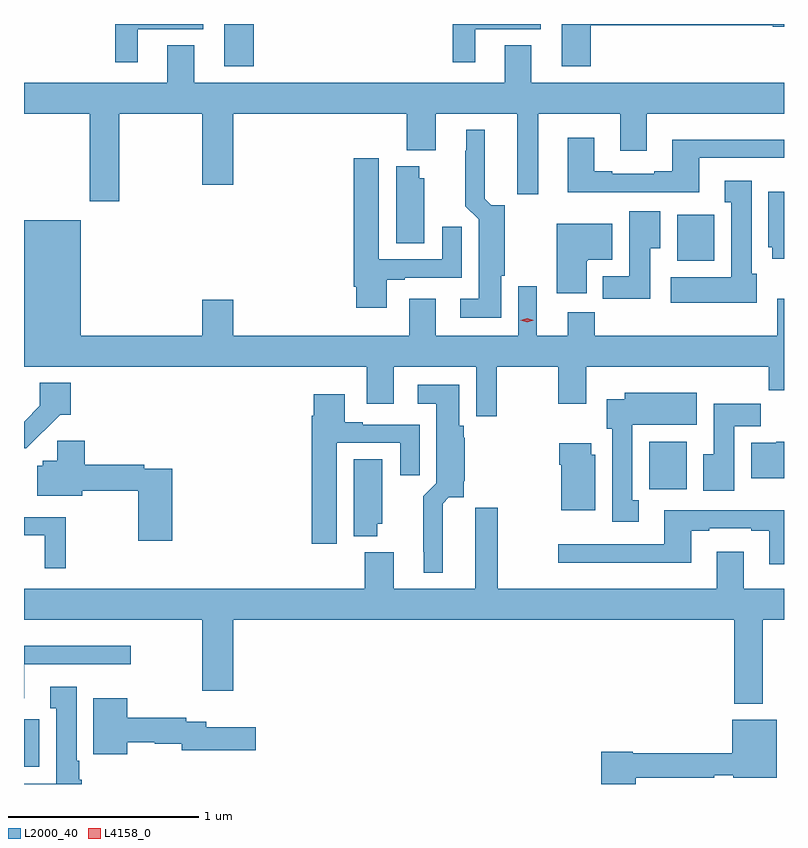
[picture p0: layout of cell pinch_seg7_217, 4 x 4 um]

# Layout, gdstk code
import gdstk
lib = gdstk.Library(unit=1e-6, precision=1e-09)
def R(c, l, rs):  # rectangles x0, y0, x1, y1
    for r in rs: c.add(gdstk.rectangle(r[:2], r[2:], *l))
def P(c, l, *ps):  # polygons
    for p in ps: c.add(gdstk.Polygon(p, *l))
L2000_40 = (2000, 40)
L4158_0 = (4158, 0)

pinch_seg7_217 = lib.new_cell('pinch_seg7_217')
R(pinch_seg7_217, L2000_40, [(751.482,1003.838,751.563,1004.089), (754.773,1005.3,754.969,1005.55), (754.919,1006.502,755.116,1006.744), (752.537,1007.525,752.69,1007.748)])
P(pinch_seg7_217, L2000_40, [(754.466,1007.742),(755.424,1007.742),(755.424,1007.734),(755.482,1007.734),(755.482,1007.748),(754.313,1007.748),(754.313,1007.525),(754.466,1007.525)],
  [(753.856,1007.721),(754.201,1007.721),(754.201,1007.748),(753.739,1007.748),(753.739,1007.547),(753.856,1007.547)],
  [(752.08,1007.721),(752.425,1007.721),(752.425,1007.748),(751.963,1007.748),(751.963,1007.547),(752.08,1007.547)],
  [(751.983,1007.276),(752.42,1007.276),(752.42,1006.902),(752.584,1006.902),(752.584,1007.276),(753.497,1007.276),(753.497,1007.084),(753.649,1007.084),(753.649,1007.276),(754.079,1007.276),(754.079,1006.851),(754.189,1006.851),(754.189,1007.276),(754.619,1007.276),(754.619,1007.082),(754.759,1007.082),(754.759,1007.276),(755.482,1007.276),(755.482,1007.44),(754.153,1007.44),(754.153,1007.635),(754.013,1007.635),(754.013,1007.44),(752.377,1007.44),(752.377,1007.635),(752.237,1007.635),(752.237,1007.44),(751.482,1007.44),(751.482,1007.276),(751.828,1007.276),(751.828,1006.815),(751.983,1006.815)],
  [(753.994,1006.422),(754.012,1006.422),(754.012,1006.794),(753.94,1006.794),(753.907,1006.828),(753.907,1007.191),(753.809,1007.191),(753.809,1007.081),(753.805,1007.081),(753.805,1006.79),(753.875,1006.72),(753.875,1006.303),(753.777,1006.303),(753.777,1006.202),(753.994,1006.202)],
  [(754.571,1006.863),(755.035,1006.863),(755.035,1007.043),(755.482,1007.043),(755.482,1007.14),(754.895,1007.14),(754.895,1006.972),(754.799,1006.972),(754.799,1006.959),(754.579,1006.959),(754.579,1006.972),(754.483,1006.972),(754.483,1007.149),(754.343,1007.149),(754.343,1006.862),(754.571,1006.862)],
  [(753.391,1006.401),(753.487,1006.401),(753.487,1006.413),(753.787,1006.413),(753.787,1006.681),(753.683,1006.681),(753.683,1006.509),(753.349,1006.509),(753.349,1007.041),(753.218,1007.041),(753.218,1006.366),(753.23,1006.366),(753.23,1006.254),(753.391,1006.254)],
  [(753.589,1006.935),(753.562,1006.935),(753.562,1006.999),(753.44,1006.999),(753.44,1006.594),(753.589,1006.594)],
  [(755.338,1006.434),(755.311,1006.434),(755.311,1006.924),(755.171,1006.924),(755.171,1006.811),(755.204,1006.811),(755.204,1006.414),(754.887,1006.414),(754.887,1006.28),(755.338,1006.28)],
  [(755.482,1006.864),(755.399,1006.864),(755.399,1006.572),(755.42,1006.572),(755.42,1006.512),(755.482,1006.512)],
  [(754.777,1006.568),(754.831,1006.568),(754.831,1006.762),(754.667,1006.762),(754.667,1006.42),(754.529,1006.42),(754.529,1006.302),(754.777,1006.302)],
  [(753.97,1005.944),(754.294,1005.944),(754.294,1005.75),(754.441,1005.75),(754.441,1005.944),(755.401,1005.944),(755.401,1005.82),(755.482,1005.82),(755.482,1006.303),(755.447,1006.303),(755.447,1006.108),(754.487,1006.108),(754.487,1006.232),(754.343,1006.232),(754.343,1006.108),(754.18,1006.108),(754.18,1006.369),(754.083,1006.369),(754.083,1006.108),(753.649,1006.108),(753.649,1006.303),(753.509,1006.303),(753.509,1006.108),(752.584,1006.108),(752.584,1006.297),(752.42,1006.297),(752.42,1006.108),(751.78,1006.108),(751.78,1006.714),(751.482,1006.714),(751.482,1005.944),(753.287,1005.944),(753.287,1005.75),(753.427,1005.75),(753.427,1005.944),(753.861,1005.944),(753.861,1005.684),(753.97,1005.684)],
  [(754.444,1006.502),(754.45,1006.502),(754.45,1006.508),(754.579,1006.508),(754.579,1006.696),(754.286,1006.696),(754.286,1006.332),(754.444,1006.332)],
  [(751.673,1005.692),(751.727,1005.692),(751.727,1005.859),(751.566,1005.859),(751.566,1005.738),(751.482,1005.654),(751.482,1005.515),(751.495,1005.515)],
  [(753.685,1005.224),(753.717,1005.257),(753.797,1005.257),(753.797,1005.338),(753.803,1005.344),(753.803,1005.57),(753.797,1005.57),(753.797,1005.633),(753.772,1005.633),(753.772,1005.85),(753.555,1005.85),(753.555,1005.749),(753.653,1005.749),(753.653,1005.332),(753.583,1005.262),(753.583,1004.971),(753.587,1004.971),(753.587,1004.861),(753.685,1004.861)],
  [(754.717,1005.241),(754.684,1005.241),(754.684,1005.638),(755.023,1005.638),(755.023,1005.808),(754.643,1005.808),(754.643,1005.772),(754.55,1005.772),(754.55,1005.618),(754.577,1005.618),(754.577,1005.129),(754.717,1005.129)],
  [(753.127,1005.543),(753.461,1005.543),(753.461,1005.372),(753.565,1005.372),(753.565,1005.639),(753.265,1005.639),(753.265,1005.652),(753.169,1005.652),(753.169,1005.799),(753.008,1005.799),(753.008,1005.686),(752.996,1005.686),(752.996,1005.012),(753.127,1005.012)],
  [(755.221,1005.632),(755.36,1005.632),(755.36,1005.75),(755.111,1005.75),(755.111,1005.484),(755.057,1005.484),(755.057,1005.291),(755.221,1005.291)],
  [(752.261,1005.408),(752.114,1005.408),(752.114,1005.428),(751.802,1005.428),(751.802,1005.555),(751.657,1005.555),(751.657,1005.45),(751.581,1005.45),(751.581,1005.423),(751.553,1005.423),(751.553,1005.266),(751.789,1005.266),(751.789,1005.292),(752.083,1005.292),(752.083,1005.027),(752.261,1005.027)],
  [(755.482,1005.55),(755.442,1005.55),(755.442,1005.544),(755.309,1005.544),(755.309,1005.356),(755.482,1005.356)],
  [(754.489,1005.48),(754.468,1005.48),(754.468,1005.541),(754.298,1005.541),(754.298,1005.428),(754.31,1005.428),(754.31,1005.188),(754.489,1005.188)],
  [(753.34,1005.117),(753.367,1005.117),(753.367,1005.458),(753.218,1005.458),(753.218,1005.053),(753.34,1005.053)],
  [(755.371,1004.612),(755.482,1004.612),(755.482,1004.776),(755.269,1004.776),(755.269,1004.971),(755.129,1004.971),(755.129,1004.776),(753.975,1004.776),(753.975,1005.202),(753.857,1005.202),(753.857,1004.776),(753.427,1004.776),(753.427,1004.968),(753.275,1004.968),(753.275,1004.776),(751.482,1004.776),(751.482,1004.612),(752.42,1004.612),(752.42,1004.238),(752.584,1004.238),(752.584,1004.612),(755.219,1004.612),(755.219,1004.171),(755.371,1004.171)],
  [(755.482,1005.19),(755.313,1005.19),(755.313,1005.189),(754.853,1005.189),(754.853,1005.009),(754.293,1005.009),(754.293,1004.912),(754.993,1004.912),(754.993,1005.081),(755.089,1005.081),(755.089,1005.093),(755.309,1005.093),(755.309,1005.081),(755.405,1005.081),(755.405,1004.904),(755.482,1004.904)],
  [(751.702,1005.153),(751.482,1005.153),(751.482,1005.057),(751.592,1005.057),(751.592,1004.883),(751.702,1004.883)],
  [(751.483,1004.379),(752.044,1004.379),(752.044,1004.476),(751.482,1004.476),(751.482,1004.199),(751.483,1004.199)],
  [(751.786,1003.77),(751.774,1003.77),(751.774,1003.87),(751.759,1003.87),(751.759,1004.26),(751.619,1004.26),(751.619,1004.147),(751.652,1004.147),(751.652,1003.75),(751.482,1003.75),(751.482,1003.748),(751.786,1003.748)],
  [(752.026,1003.968),(752.169,1003.968),(752.169,1003.96),(752.312,1003.96),(752.312,1003.925),(752.701,1003.925),(752.701,1004.047),(752.44,1004.047),(752.44,1004.076),(752.336,1004.076),(752.336,1004.096),(752.026,1004.096),(752.026,1004.2),(751.847,1004.2),(751.847,1003.904),(752.026,1003.904)],
  [(754.703,1003.782),(755.114,1003.782),(755.114,1003.794),(755.214,1003.794),(755.214,1003.781),(755.443,1003.781),(755.443,1004.086),(755.21,1004.086),(755.21,1003.91),(754.686,1003.91),(754.686,1003.918),(754.52,1003.918),(754.52,1003.748),(754.703,1003.748)])
P(pinch_seg7_217, L4158_0, [(754.131,1006.179),(754.095,1006.188),(754.095,1006.188),(754.095,1006.188),(754.131,1006.199),(754.166,1006.189),(754.166,1006.189),(754.166,1006.189)])

lib.write_gds('pinch_seg7_217.gds')
